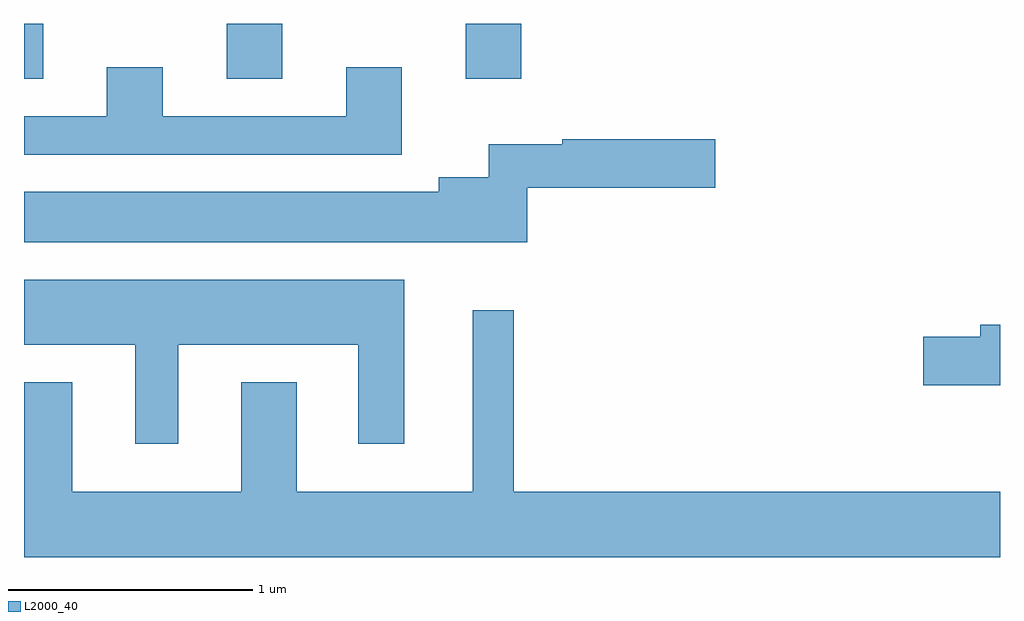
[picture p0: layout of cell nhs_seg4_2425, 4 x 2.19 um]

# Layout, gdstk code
import gdstk
lib = gdstk.Library(unit=1e-6, precision=1e-09)
def R(c, l, rs):  # rectangles x0, y0, x1, y1
    for r in rs: c.add(gdstk.rectangle(r[:2], r[2:], *l))
def P(c, l, *ps):  # polygons
    for p in ps: c.add(gdstk.Polygon(p, *l))
L2000_40 = (2000, 40)

nhs_seg4_2425 = lib.new_cell('nhs_seg4_2425')
R(nhs_seg4_2425, L2000_40, [(255.611,1347.756,255.689,1347.982), (256.441,1347.756,256.669,1347.982), (257.421,1347.756,257.649,1347.982)])
P(nhs_seg4_2425, L2000_40, [(257.159,1347.804),(256.931,1347.804),(256.931,1347.604),(256.179,1347.604),(256.179,1347.804),(255.951,1347.804),(255.951,1347.604),(255.611,1347.604),(255.611,1347.446),(257.159,1347.446)],
  [(257.674,1347.311),(258.444,1347.311),(258.444,1347.509),(257.816,1347.509),(257.816,1347.489),(257.516,1347.489),(257.516,1347.354),(257.311,1347.354),(257.311,1347.294),(255.611,1347.294),(255.611,1347.086),(257.674,1347.086)],
  [(256.244,1346.666),(256.981,1346.666),(256.981,1346.261),(257.169,1346.261),(257.169,1346.934),(255.611,1346.934),(255.611,1346.666),(256.066,1346.666),(256.066,1346.261),(256.244,1346.261)],
  [(259.611,1346.064),(257.619,1346.064),(257.619,1346.808),(257.451,1346.808),(257.451,1346.064),(256.729,1346.064),(256.729,1346.514),(256.501,1346.514),(256.501,1346.064),(255.809,1346.064),(255.809,1346.514),(255.611,1346.514),(255.611,1345.796),(259.611,1345.796)],
  [(259.611,1346.749),(259.531,1346.749),(259.531,1346.699),(259.296,1346.699),(259.296,1346.501),(259.611,1346.501)])

lib.write_gds('nhs_seg4_2425.gds')
